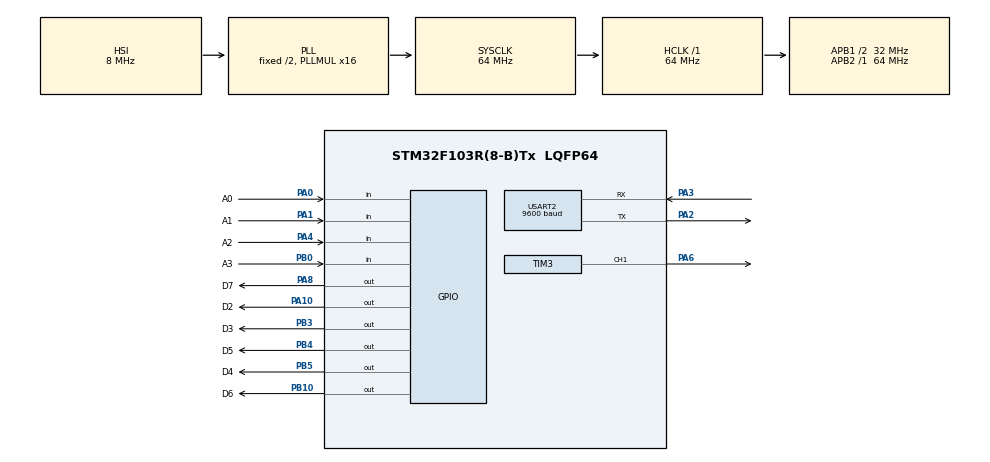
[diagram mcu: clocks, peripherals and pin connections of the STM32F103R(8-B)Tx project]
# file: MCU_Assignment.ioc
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Mcu.Family=STM32F1
Mcu.Name=STM32F103R(8-B)Tx
Mcu.Package=LQFP64
NVIC.PriorityGroup=NVIC_PRIORITYGROUP_4
NVIC.TIM2_IRQn=true\:0\:0\:false\:false\:true\:true\:true
NVIC.TIM3_IRQn=true\:0\:0\:false\:false\:true\:true\:true
NVIC.USART2_IRQn=true\:0\:0\:false\:false\:true\:true\:true
PA0-WKUP.GPIO_Label=A0
PA0-WKUP.GPIO_PuPd=GPIO_PULLUP
PA0-WKUP.Signal=GPIO_Input
PA1.GPIO_Label=A1
PA1.GPIO_PuPd=GPIO_PULLUP
PA1.Signal=GPIO_Input
PA10.GPIO_Label=D2
PA10.Signal=GPIO_Output
PA13.Mode=Serial_Wire
PA13.Signal=SYS_JTMS-SWDIO
PA14.Mode=Serial_Wire
PA14.Signal=SYS_JTCK-SWCLK
PA2.Mode=Asynchronous
PA2.Signal=USART2_TX
PA3.Mode=Asynchronous
PA3.Signal=USART2_RX
PA4.GPIO_Label=A2
PA4.GPIO_PuPd=GPIO_PULLUP
PA4.Signal=GPIO_Input
PA6.Signal=S_TIM3_CH1
PA8.GPIO_Label=D7
PA8.Signal=GPIO_Output
PB0.GPIO_Label=A3
PB0.GPIO_PuPd=GPIO_PULLUP
PB0.Signal=GPIO_Input
PB10.GPIO_Label=D6
PB10.Signal=GPIO_Output
PB3.GPIO_Label=D3
PB3.Signal=GPIO_Output
PB4.GPIO_Label=D5
PB4.Signal=GPIO_Output
PB5.GPIO_Label=D4
PB5.Signal=GPIO_Output
ProjectManager.HeapSize=0x200
ProjectManager.StackSize=0x400
ProjectManager.TargetToolchain=STM32CubeIDE
RCC.AHBFreq_Value=64000000
RCC.APB1CLKDivider=RCC_HCLK_DIV2
RCC.APB1Freq_Value=32000000
RCC.APB1TimFreq_Value=64000000
RCC.APB2Freq_Value=64000000
RCC.APB2TimFreq_Value=64000000
RCC.HCLKFreq_Value=64000000
RCC.PLLMUL=RCC_PLL_MUL16
RCC.SYSCLKFreq_VALUE=64000000
RCC.SYSCLKSource=RCC_SYSCLKSOURCE_PLLCLK
RCC.USBFreq_Value=64000000
SH.S_TIM3_CH1.0=TIM3_CH1,PWM Generation1 CH1
TIM2.Period=99
TIM2.Prescaler=6399
TIM3.Channel-PWM\ Generation1\ CH1=TIM_CHANNEL_1
TIM3.Period=999
TIM3.Prescaler=63
USART2.BaudRate=9600
USART2.VirtualMode=VM_ASYNC
VP_TIM2_VS_ClockSourceINT.Mode=Internal
VP_TIM3_VS_ClockSourceINT.Mode=Internal
board=custom

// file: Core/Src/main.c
/* USER CODE BEGIN Header */
/**
  ******************************************************************************
  * @file           : main.c
  * @brief          : Main program body
  ******************************************************************************
  * @attention
  *
  * <h2><center>&copy; Copyright (c) 2023 STMicroelectronics.
  * All rights reserved.</center></h2>
  *
  * This software component is licensed by ST under BSD 3-Clause license,
  * the "License"; You may not use this file except in compliance with the
  * License. You may obtain a copy of the License at:
  *                        opensource.org/licenses/BSD-3-Clause
  *
  ******************************************************************************
  */
/* USER CODE END Header */
#include "main.h"
#include "global.h"
#include "scheduler.h"

TIM_HandleTypeDef htim2;
TIM_HandleTypeDef htim3;

UART_HandleTypeDef huart2;

void SystemClock_Config(void);
static void MX_GPIO_Init(void);
static void MX_TIM2_Init(void);
static void MX_TIM3_Init(void);
static void MX_USART2_UART_Init(void);

int main(void)
{

  /* MCU Configuration--------------------------------------------------------*/

  /* Reset of all peripherals, Initializes the Flash interface and the Systick. */
  HAL_Init();

  /* Configure the system clock */
  SystemClock_Config();

  /* Initialize all configured peripherals */
  MX_GPIO_Init();
  MX_TIM2_Init();
  MX_TIM3_Init();
  MX_USART2_UART_Init();
  /* USER CODE BEGIN 2 */
  HAL_TIM_Base_Start_IT(&htim2);
  HAL_TIM_PWM_Start(&htim3, TIM_CHANNEL_1);
  /* USER CODE END 2 */

  /* Infinite loop */
  /* USER CODE BEGIN WHILE */
  setTimer(0, 10);
  setTimer(1, 10);
  setTimer(2, 10);
  setTimer(3, 10);
   SCH_Init();
   //blinkLEDs(TRAFFIC_1, AUTO_RED);
   SCH_Add_Task(timerRun, 0, 1);
   SCH_Add_Task(timerRunSecond, 0, 1);
   //SCH_Add_Task(timerRun7SEG, 0, 1);
   SCH_Add_Task(button_reading, 0, 1);
   //SCH_Add_Task(update7SEG, 1, 25);
   //SCH_Add_Task(updateBuffer, 1,10);
   SCH_Add_Task(fsm_pedestrian_run, 0, 1);
   SCH_Add_Task(fsm_automatic_run, 0, 1);
   SCH_Add_Task(fsm_manual_run, 0, 1);
   while (1)
   {
    /* USER CODE END WHILE */
	   SCH_Dispatch_Tasks();
   }
}

void SystemClock_Config(void)
{
  RCC_OscInitTypeDef RCC_OscInitStruct = {0};
  RCC_ClkInitTypeDef RCC_ClkInitStruct = {0};

  /** Initializes the RCC Oscillators according to the specified parameters
  * in the RCC_OscInitTypeDef structure.
  */
  RCC_OscInitStruct.OscillatorType = RCC_OSCILLATORTYPE_HSI;
  RCC_OscInitStruct.HSIState = RCC_HSI_ON;
  RCC_OscInitStruct.HSICalibrationValue = RCC_HSICALIBRATION_DEFAULT;
  RCC_OscInitStruct.PLL.PLLState = RCC_PLL_ON;
  RCC_OscInitStruct.PLL.PLLSource = RCC_PLLSOURCE_HSI_DIV2;
  RCC_OscInitStruct.PLL.PLLMUL = RCC_PLL_MUL16;
  if (HAL_RCC_OscConfig(&RCC_OscInitStruct) != HAL_OK)
  {
    Error_Handler();
  }
  /** Initializes the CPU, AHB and APB buses clocks
  */
  RCC_ClkInitStruct.ClockType = RCC_CLOCKTYPE_HCLK|RCC_CLOCKTYPE_SYSCLK
                              |RCC_CLOCKTYPE_PCLK1|RCC_CLOCKTYPE_PCLK2;
  RCC_ClkInitStruct.SYSCLKSource = RCC_SYSCLKSOURCE_PLLCLK;
  RCC_ClkInitStruct.AHBCLKDivider = RCC_SYSCLK_DIV1;
  RCC_ClkInitStruct.APB1CLKDivider = RCC_HCLK_DIV2;
  RCC_ClkInitStruct.APB2CLKDivider = RCC_HCLK_DIV1;

  if (HAL_RCC_ClockConfig(&RCC_ClkInitStruct, FLASH_LATENCY_2) != HAL_OK)
  {
    Error_Handler();
  }
}

static void MX_TIM2_Init(void)
{

  TIM_ClockConfigTypeDef sClockSourceConfig = {0};
  TIM_MasterConfigTypeDef sMasterConfig = {0};

  htim2.Instance = TIM2;
  htim2.Init.Prescaler = 6399;
  htim2.Init.CounterMode = TIM_COUNTERMODE_UP;
  htim2.Init.Period = 99;
  htim2.Init.ClockDivision = TIM_CLOCKDIVISION_DIV1;
  htim2.Init.AutoReloadPreload = TIM_AUTORELOAD_PRELOAD_DISABLE;
  if (HAL_TIM_Base_Init(&htim2) != HAL_OK)
  {
    Error_Handler();
  }
  sClockSourceConfig.ClockSource = TIM_CLOCKSOURCE_INTERNAL;
  if (HAL_TIM_ConfigClockSource(&htim2, &sClockSourceConfig) != HAL_OK)
  {
    Error_Handler();
  }
  sMasterConfig.MasterOutputTrigger = TIM_TRGO_RESET;
  sMasterConfig.MasterSlaveMode = TIM_MASTERSLAVEMODE_DISABLE;
  if (HAL_TIMEx_MasterConfigSynchronization(&htim2, &sMasterConfig) != HAL_OK)
  {
    Error_Handler();
  }

}

static void MX_TIM3_Init(void)
{

  TIM_ClockConfigTypeDef sClockSourceConfig = {0};
  TIM_MasterConfigTypeDef sMasterConfig = {0};
  TIM_OC_InitTypeDef sConfigOC = {0};

  htim3.Instance = TIM3;
  htim3.Init.Prescaler = 63;
  htim3.Init.CounterMode = TIM_COUNTERMODE_UP;
  htim3.Init.Period = 999;
  htim3.Init.ClockDivision = TIM_CLOCKDIVISION_DIV1;
  htim3.Init.AutoReloadPreload = TIM_AUTORELOAD_PRELOAD_DISABLE;
  if (HAL_TIM_Base_Init(&htim3) != HAL_OK)
  {
    Error_Handler();
  }
  sClockSourceConfig.ClockSource = TIM_CLOCKSOURCE_INTERNAL;
  if (HAL_TIM_ConfigClockSource(&htim3, &sClockSourceConfig) != HAL_OK)
  {
    Error_Handler();
  }
  if (HAL_TIM_PWM_Init(&htim3) != HAL_OK)
  {
    Error_Handler();
  }
  sMasterConfig.MasterOutputTrigger = TIM_TRGO_RESET;
  sMasterConfig.MasterSlaveMode = TIM_MASTERSLAVEMODE_DISABLE;
  if (HAL_TIMEx_MasterConfigSynchronization(&htim3, &sMasterConfig) != HAL_OK)
  {
    Error_Handler();
  }
  sConfigOC.OCMode = TIM_OCMODE_PWM1;
  sConfigOC.Pulse = 0;
  sConfigOC.OCPolarity = TIM_OCPOLARITY_HIGH;
  sConfigOC.OCFastMode = TIM_OCFAST_DISABLE;
  if (HAL_TIM_PWM_ConfigChannel(&htim3, &sConfigOC, TIM_CHANNEL_1) != HAL_OK)
  {
    Error_Handler();
  }
  HAL_TIM_MspPostInit(&htim3);

}

static void MX_USART2_UART_Init(void)
{

  huart2.Instance = USART2;
  huart2.Init.BaudRate = 9600;
  huart2.Init.WordLength = UART_WORDLENGTH_8B;
  huart2.Init.StopBits = UART_STOPBITS_1;
  huart2.Init.Parity = UART_PARITY_NONE;
  huart2.Init.Mode = UART_MODE_TX_RX;
  huart2.Init.HwFlowCtl = UART_HWCONTROL_NONE;
  huart2.Init.OverSampling = UART_OVERSAMPLING_16;
  if (HAL_UART_Init(&huart2) != HAL_OK)
  {
    Error_Handler();
  }

}

static void MX_GPIO_Init(void)
{
  GPIO_InitTypeDef GPIO_InitStruct = {0};

  /* GPIO Ports Clock Enable */
  __HAL_RCC_GPIOA_CLK_ENABLE();
  __HAL_RCC_GPIOB_CLK_ENABLE();

  /*Configure GPIO pin Output Level */
  HAL_GPIO_WritePin(GPIOB, D6_Pin|D3_Pin|D5_Pin|D4_Pin, GPIO_PIN_RESET);

  /*Configure GPIO pin Output Level */
  HAL_GPIO_WritePin(GPIOA, D7_Pin|D2_Pin, GPIO_PIN_RESET);

  /*Configure GPIO pins : A0_Pin A1_Pin A2_Pin */
  GPIO_InitStruct.Pin = A0_Pin|A1_Pin|A2_Pin;
  GPIO_InitStruct.Mode = GPIO_MODE_INPUT;
  GPIO_InitStruct.Pull = GPIO_PULLUP;
  HAL_GPIO_Init(GPIOA, &GPIO_InitStruct);

  /*Configure GPIO pin : A3_Pin */
  GPIO_InitStruct.Pin = A3_Pin;
  GPIO_InitStruct.Mode = GPIO_MODE_INPUT;
  GPIO_InitStruct.Pull = GPIO_PULLUP;
  HAL_GPIO_Init(A3_GPIO_Port, &GPIO_InitStruct);

  /*Configure GPIO pins : D6_Pin D3_Pin D5_Pin D4_Pin */
  GPIO_InitStruct.Pin = D6_Pin|D3_Pin|D5_Pin|D4_Pin;
  GPIO_InitStruct.Mode = GPIO_MODE_OUTPUT_PP;
  GPIO_InitStruct.Pull = GPIO_NOPULL;
  GPIO_InitStruct.Speed = GPIO_SPEED_FREQ_LOW;
  HAL_GPIO_Init(GPIOB, &GPIO_InitStruct);

  /*Configure GPIO pins : D7_Pin D2_Pin */
  GPIO_InitStruct.Pin = D7_Pin|D2_Pin;
  GPIO_InitStruct.Mode = GPIO_MODE_OUTPUT_PP;
  GPIO_InitStruct.Pull = GPIO_NOPULL;
  GPIO_InitStruct.Speed = GPIO_SPEED_FREQ_LOW;
  HAL_GPIO_Init(GPIOA, &GPIO_InitStruct);

}

/* USER CODE BEGIN 4 */
void HAL_TIM_PeriodElapsedCallback(TIM_HandleTypeDef *htim){
//	timerRun();
//	timerRun7SEG();
//	timerRunSecond();
//	button_reading();
	SCH_Update();
}
/* USER CODE END 4 */

void Error_Handler(void)
{
  __disable_irq();
  while (1)
  {
  }
}

/************************ (C) COPYRIGHT STMicroelectronics *****END OF FILE****/
